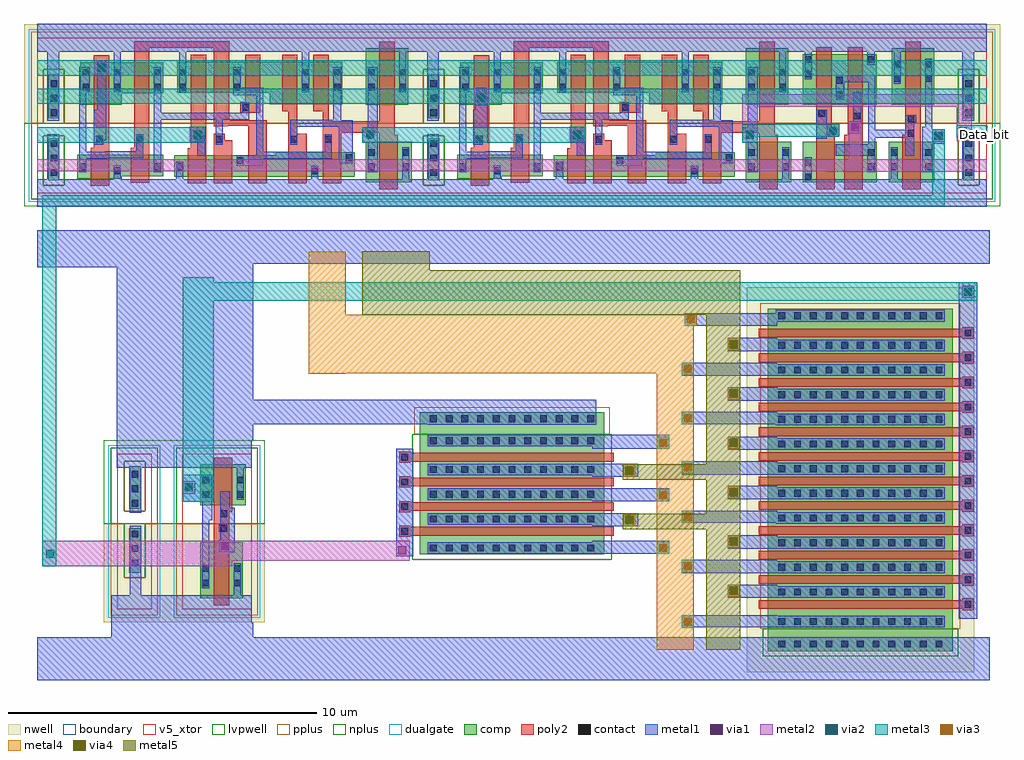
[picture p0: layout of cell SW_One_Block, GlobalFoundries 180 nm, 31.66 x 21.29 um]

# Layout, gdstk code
from math import pi, radians
import gdstk
lib = gdstk.Library(unit=1e-6, precision=1e-09)
def R(c, l, rs):  # rectangles x0, y0, x1, y1
    for r in rs: c.add(gdstk.rectangle(r[:2], r[2:], *l))
def A(c, l, x, y, w, h, nx, ny, dx, dy):  # array of equal rectangles
    R(c, l, [(x+i*dx, y+j*dy, x+i*dx+w, y+j*dy+h) for i in range(nx) for j in range(ny)])
def P(c, l, *ps):  # polygons
    for p in ps: c.add(gdstk.Polygon(p, *l))
boundary = (0, 0)
nwell = (21, 0)
comp = (22, 0)
poly2 = (30, 0)
pplus = (31, 0)
nplus = (32, 0)
contact = (33, 0)
metal1 = (34, 0)
via1 = (35, 0)
metal2 = (36, 0)
via2 = (38, 0)
via3 = (40, 0)
via4 = (41, 0)
metal3 = (42, 0)
metal4 = (46, 0)
dualgate = (55, 0)
metal5 = (81, 0)
v5_xtor = (112, 1)
lvpwell = (204, 0)

gf180mcu_fd_sc_mcu9t5v0_ = lib.new_cell('gf180mcu_fd_sc_mcu9t5v0__filltie')
R(gf180mcu_fd_sc_mcu9t5v0_, boundary, [(0,0,1.12,5.04)])
R(gf180mcu_fd_sc_mcu9t5v0_, nwell, [(-0.43,2.265,1.55,5.47)])
R(gf180mcu_fd_sc_mcu9t5v0_, comp, [(0.36,0.41,0.72,1.785), (0.36,2.425,0.72,3.855)])
R(gf180mcu_fd_sc_mcu9t5v0_, pplus, [(0.2,0.25,0.88,1.865)])
P(gf180mcu_fd_sc_mcu9t5v0_, pplus, [(-0.2,2.265),(-0.2,5.24),(1.32,5.24),(1.32,2.265),(0.88,2.265),(0.88,4.015),(0.2,4.015),(0.2,2.265)])
P(gf180mcu_fd_sc_mcu9t5v0_, nplus, [(-0.2,-0.2),(-0.2,2.265),(0.2,2.265),(0.2,4.015),(0.88,4.015),(0.88,1.865),(0.2,1.865),(0.2,0.25),(0.88,0.25),(0.88,4.015),(0.88,2.265),(1.32,2.265),(1.32,-0.2)])
A(gf180mcu_fd_sc_mcu9t5v0_, contact, 0.43, 0.555, 0.22, 0.22, 1, 3, 0, 0.47)
A(gf180mcu_fd_sc_mcu9t5v0_, contact, 0.43, 2.495, 0.22, 0.22, 1, 3, 0, 0.47)
P(gf180mcu_fd_sc_mcu9t5v0_, metal1, [(0,-0.45),(0,0.45),(0.33,0.45),(0.33,1.91),(0.71,1.91),(0.71,0.45),(1.12,0.45),(1.12,-0.45)],
  [(0.33,2.34),(0.33,4.59),(0,4.59),(0,5.49),(1.12,5.49),(1.12,4.59),(0.71,4.59),(0.71,2.34)])
R(gf180mcu_fd_sc_mcu9t5v0_, dualgate, [(-0.28,-0.28,1.4,5.32)])
R(gf180mcu_fd_sc_mcu9t5v0_, v5_xtor, [(0,0,1.12,5.04)])
R(gf180mcu_fd_sc_mcu9t5v0_, lvpwell, [(-0.43,-0.43,1.55,2.265)])
gf180mcu_fd_sc_mcu9t5v0_.add(gdstk.Label('& Vendor GLOBALFOUNDRIES', (0,2), layer=63, texttype=63))
gf180mcu_fd_sc_mcu9t5v0_.add(gdstk.Label('& Product GF018hv5v_green_sc9', (0,1.5), layer=63, texttype=63))
gf180mcu_fd_sc_mcu9t5v0_.add(gdstk.Label('& Version 2015q2v2', (0,1), layer=63, texttype=63))
gf180mcu_fd_sc_mcu9t5v0_.add(gdstk.Label('& Metric 1.00', (0,0.5), layer=63, texttype=63))
gf180mcu_fd_sc_mcu9t5v0_.add(gdstk.Label('VSS', (0.56,-0.45), layer=34, texttype=10))
gf180mcu_fd_sc_mcu9t5v0_.add(gdstk.Label('VDD', (0.56,5.49), layer=34, texttype=10))

c_gf180mcu_fd_sc_mcu9t5v0_ = lib.new_cell('gf180mcu_fd_sc_mcu9t5v0__latq_1')
R(c_gf180mcu_fd_sc_mcu9t5v0_, boundary, [(0,0,11.2,5.04)])
R(c_gf180mcu_fd_sc_mcu9t5v0_, nwell, [(-0.43,2.265,11.63,5.47)])
R(c_gf180mcu_fd_sc_mcu9t5v0_, comp, [(9.54,0.345,11.02,1.665), (9.54,2.865,10.92,4.695)])
P(c_gf180mcu_fd_sc_mcu9t5v0_, comp, [(0.18,0.46),(0.18,1.25),(2.96,1.25),(2.96,0.55),(1.62,0.55),(1.62,0.46)],
  [(0.28,2.865),(0.28,4.245),(2.96,4.245),(2.96,3.245),(1.62,3.245),(1.62,2.865)],
  [(6.42,2.88),(6.42,3.26),(3.42,3.26),(3.42,4.26),(8.78,4.26),(8.78,2.88)],
  [(3.32,0.535),(3.32,1.235),(6.62,1.235),(6.62,1.325),(9.18,1.325),(9.18,0.535)])
P(c_gf180mcu_fd_sc_mcu9t5v0_, poly2, [(0.62,0.24),(0.62,1.47),(0.72,1.47),(0.72,4.465),(1.22,4.465),(1.22,0.24)],
  [(3.76,0.315),(3.76,1.455),(3.86,1.455),(3.86,4.48),(4.36,4.48),(4.36,0.315)],
  [(4.6,0.315),(4.6,1.925),(4.96,1.925),(4.96,1.715),(5.2,1.715),(5.2,0.315)],
  [(5.46,2.6),(5.46,2.96),(5.62,2.96),(5.62,4.48),(6.12,4.48),(6.12,3.04),(6.115,3.04),(6.115,2.6)],
  [(5.72,0.315),(5.72,2.16),(5.055,2.16),(5.055,2.165),(4.6,2.165),(4.6,4.72),(2.52,4.72),(2.52,0.33),(1.92,0.33),(1.92,1.47),(2.02,1.47),(2.02,4.92),(5.1,4.92),(5.1,2.36),(6.32,2.36),(6.32,0.315)],
  [(7.02,0.315),(7.02,2.66),(6.82,2.66),(6.82,4.48),(7.32,4.48),(7.32,1.925),(7.62,1.925),(7.62,0.315)],
  [(9.98,0.125),(9.98,1.965),(8.74,1.965),(8.74,0.315),(8.14,0.315),(8.14,2.66),(7.84,2.66),(7.84,4.48),(8.34,4.48),(8.34,2.325),(9.98,2.325),(9.98,4.915),(10.48,4.915),(10.48,1.885),(10.58,1.885),(10.58,0.125)])
R(c_gf180mcu_fd_sc_mcu9t5v0_, pplus, [(-0.2,2.265,11.4,5.24)])
R(c_gf180mcu_fd_sc_mcu9t5v0_, nplus, [(-0.2,-0.2,11.4,2.265)])
R(c_gf180mcu_fd_sc_mcu9t5v0_, contact, [(7.77,0.605,7.99,0.825), (1.37,0.615,1.59,0.835), (0.25,0.74,0.47,0.96), (2.67,0.74,2.89,0.96), (3.39,0.74,3.61,0.96), (9.61,0.74,9.83,0.96), (10.73,0.74,10.95,0.96), (5.35,0.945,5.57,1.165), (8.89,1.035,9.11,1.255), (9.61,1.21,9.83,1.43), (10.73,1.21,10.95,1.43), (0.79,1.635,1.01,1.855), (2.09,1.635,2.31,1.855), (4.07,1.635,4.29,1.855), (4.67,1.635,4.89,1.855), (7.09,1.635,7.31,1.855), (8.21,1.635,8.43,1.855), (5.53,2.67,5.75,2.89), (0.35,3.33,0.57,3.55), (1.37,3.33,1.59,3.55), (2.67,3.33,2.89,3.55), (3.49,3.33,3.71,3.55), (5.25,3.33,5.47,3.55), (7.47,3.33,7.69,3.55), (8.49,3.33,8.71,3.55), (9.61,3.33,9.83,3.55), (10.63,3.33,10.85,3.55), (0.35,3.8,0.57,4.02), (1.37,3.8,1.59,4.02), (2.67,3.8,2.89,4.02), (3.49,3.8,3.71,4.02), (5.25,3.8,5.47,4.02), (7.47,3.8,7.69,4.02), (8.49,3.8,8.71,4.02), (9.61,3.8,9.83,4.02), (10.63,3.8,10.85,4.02)])
R(c_gf180mcu_fd_sc_mcu9t5v0_, metal1, [(9.605,0.68,9.93,4.08), (4.065,1.21,4.33,2.15), (0.71,1.575,1.015,2.71)])
P(c_gf180mcu_fd_sc_mcu9t5v0_, metal1, [(0.245,0.68),(0.245,4.08),(0.575,4.08),(0.575,3.27),(0.475,3.27),(0.475,1.345),(1.085,1.345),(1.085,1.355),(2.085,1.355),(2.085,1.915),(2.315,1.915),(2.315,1.125),(1.155,1.125),(1.155,1.115),(0.475,1.115),(0.475,0.68)],
  [(2.665,0.68),(2.665,4.08),(2.895,4.08),(2.895,2.61),(5.525,2.61),(5.525,2.95),(5.755,2.95),(5.755,2.38),(4.895,2.38),(4.895,1.575),(4.665,1.575),(4.665,2.38),(2.895,2.38),(2.895,0.68)],
  [(5.345,0.885),(5.345,1.225),(5.985,1.225),(5.985,3.18),(5.245,3.18),(5.245,4.08),(5.475,4.08),(5.475,3.41),(6.215,3.41),(6.215,1.345),(8.205,1.345),(8.205,1.915),(8.435,1.915),(8.435,1.115),(6.19,1.115),(6.19,0.885)],
  [(8.665,0.975),(8.665,2.145),(7.315,2.145),(7.315,1.575),(7.085,1.575),(7.085,2.375),(8.485,2.375),(8.485,4.08),(8.735,4.08),(8.735,2.365),(9.115,2.365),(9.115,0.975)],
  [(0,-0.45),(0,0.45),(1.365,0.45),(1.365,0.895),(1.595,0.895),(1.595,0.45),(3.385,0.45),(3.385,1.02),(3.615,1.02),(3.615,0.45),(7.765,0.45),(7.765,0.885),(7.995,0.885),(7.995,0.45),(10.725,0.45),(10.725,1.49),(10.955,1.49),(10.955,0.45),(11.2,0.45),(11.2,-0.45)],
  [(1.365,3.27),(1.365,4.59),(0,4.59),(0,5.49),(11.2,5.49),(11.2,4.59),(10.855,4.59),(10.855,3.27),(10.625,3.27),(10.625,4.59),(7.695,4.59),(7.695,3.27),(7.465,3.27),(7.465,4.59),(3.715,4.59),(3.715,3.27),(3.485,3.27),(3.485,4.59),(1.595,4.59),(1.595,3.27)])
R(c_gf180mcu_fd_sc_mcu9t5v0_, dualgate, [(-0.28,-0.28,11.48,5.32)])
R(c_gf180mcu_fd_sc_mcu9t5v0_, v5_xtor, [(0,0,11.2,5.04)])
R(c_gf180mcu_fd_sc_mcu9t5v0_, lvpwell, [(-0.43,-0.43,11.63,2.265)])
c_gf180mcu_fd_sc_mcu9t5v0_.add(gdstk.Label('& Vendor GLOBALFOUNDRIES', (0,2), layer=63, texttype=63))
c_gf180mcu_fd_sc_mcu9t5v0_.add(gdstk.Label('& Product GF018hv5v_green_sc9', (0,1.5), layer=63, texttype=63))
c_gf180mcu_fd_sc_mcu9t5v0_.add(gdstk.Label('& Version 2015q2v2', (0,1), layer=63, texttype=63))
c_gf180mcu_fd_sc_mcu9t5v0_.add(gdstk.Label('& Metric 1.00', (0,0.5), layer=63, texttype=63))
c_gf180mcu_fd_sc_mcu9t5v0_.add(gdstk.Label('VNW', (0.345,3.92), layer=21, texttype=10))
c_gf180mcu_fd_sc_mcu9t5v0_.add(gdstk.Label('VPW', (0.34,-0.085), layer=204, texttype=10))
c_gf180mcu_fd_sc_mcu9t5v0_.add(gdstk.Label('D', (4.2,1.4), layer=34, texttype=10))
c_gf180mcu_fd_sc_mcu9t5v0_.add(gdstk.Label('E', (0.84,1.96), layer=34, texttype=10))
c_gf180mcu_fd_sc_mcu9t5v0_.add(gdstk.Label('Q', (9.8,2.52), layer=34, texttype=10))
c_gf180mcu_fd_sc_mcu9t5v0_.add(gdstk.Label('VDD', (5.6,5.49), layer=34, texttype=10))
c_gf180mcu_fd_sc_mcu9t5v0_.add(gdstk.Label('VSS', (5.6,-0.45), layer=34, texttype=10))

via_dev = lib.new_cell('via_dev')
R(via_dev, metal1, [(0,0,0.5,0.5)])
R(via_dev, via1, [(0.12,0.12,0.38,0.38)])
R(via_dev, metal2, [(0,0,0.5,0.5)])

via_dev_2 = lib.new_cell('via_dev$2')
R(via_dev_2, metal2, [(0,0,0.5,0.5)])
R(via_dev_2, via2, [(0.12,0.12,0.38,0.38)])
R(via_dev_2, metal3, [(0,0,0.5,0.5)])

c_gf180mcu_fd_sc_mcu9t5v0__ = lib.new_cell('gf180mcu_fd_sc_mcu9t5v0__nand2_1')
R(c_gf180mcu_fd_sc_mcu9t5v0__, boundary, [(0,0,2.8,5.04)])
R(c_gf180mcu_fd_sc_mcu9t5v0__, nwell, [(-0.43,2.265,3.23,5.47)])
R(c_gf180mcu_fd_sc_mcu9t5v0__, comp, [(0.185,0.345,2.585,1.665), (0.185,2.865,2.585,4.51)])
P(c_gf180mcu_fd_sc_mcu9t5v0__, poly2, [(0.625,0.125),(0.625,4.73),(1.125,4.73),(1.125,1.885),(1.225,1.885),(1.225,0.125)],
  [(1.545,0.125),(1.545,1.885),(1.645,1.885),(1.645,4.73),(2.145,4.73),(2.145,0.125)])
R(c_gf180mcu_fd_sc_mcu9t5v0__, pplus, [(-0.2,2.265,3,5.24)])
R(c_gf180mcu_fd_sc_mcu9t5v0__, nplus, [(-0.2,-0.2,3,2.265)])
R(c_gf180mcu_fd_sc_mcu9t5v0__, contact, [(0.255,0.415,0.475,0.635), (2.295,0.74,2.515,0.96), (0.255,0.885,0.475,1.105), (2.295,1.21,2.515,1.43), (1.835,2.39,2.055,2.61), (0.695,2.475,0.915,2.695), (1.275,3.08,1.495,3.3), (1.275,3.55,1.495,3.77), (0.255,3.75,0.475,3.97), (0.255,4.22,0.475,4.44), (2.295,4.22,2.515,4.44)])
R(c_gf180mcu_fd_sc_mcu9t5v0__, metal1, [(0.635,1.77,0.975,2.71), (1.83,2.33,2.09,3.27)])
P(c_gf180mcu_fd_sc_mcu9t5v0__, metal1, [(2.29,0.68),(2.29,1.21),(1.27,1.21),(1.27,1.59),(2.32,1.59),(2.32,3.6),(1.53,3.6),(1.53,3.02),(1.27,3.02),(1.27,3.83),(2.55,3.83),(2.55,0.68)],
  [(0,-0.45),(0,0.45),(0.25,0.45),(0.25,1.165),(0.48,1.165),(0.48,0.45),(2.8,0.45),(2.8,-0.45)],
  [(0.25,3.69),(0.25,4.59),(0,4.59),(0,5.49),(2.8,5.49),(2.8,4.59),(2.52,4.59),(2.52,4.16),(2.29,4.16),(2.29,4.59),(0.48,4.59),(0.48,3.69)])
R(c_gf180mcu_fd_sc_mcu9t5v0__, dualgate, [(-0.28,-0.28,3.08,5.32)])
R(c_gf180mcu_fd_sc_mcu9t5v0__, v5_xtor, [(0,0,2.8,5.04)])
R(c_gf180mcu_fd_sc_mcu9t5v0__, lvpwell, [(-0.43,-0.43,3.23,2.265)])
c_gf180mcu_fd_sc_mcu9t5v0__.add(gdstk.Label('& Vendor GLOBALFOUNDRIES', (0,2), layer=63, texttype=63))
c_gf180mcu_fd_sc_mcu9t5v0__.add(gdstk.Label('& Product GF018hv5v_green_sc9', (0,1.5), layer=63, texttype=63))
c_gf180mcu_fd_sc_mcu9t5v0__.add(gdstk.Label('& Version 2015q2v2', (0,1), layer=63, texttype=63))
c_gf180mcu_fd_sc_mcu9t5v0__.add(gdstk.Label('& Metric 1.00', (0,0.5), layer=63, texttype=63))
c_gf180mcu_fd_sc_mcu9t5v0__.add(gdstk.Label('VNW', (0.345,3.92), layer=21, texttype=10))
c_gf180mcu_fd_sc_mcu9t5v0__.add(gdstk.Label('VPW', (0.34,-0.085), layer=204, texttype=10))
c_gf180mcu_fd_sc_mcu9t5v0__.add(gdstk.Label('A1', (1.96,2.52), layer=34, texttype=10))
c_gf180mcu_fd_sc_mcu9t5v0__.add(gdstk.Label('A2', (0.84,1.96), layer=34, texttype=10))
c_gf180mcu_fd_sc_mcu9t5v0__.add(gdstk.Label('VDD', (1.4,5.49), layer=34, texttype=10))
c_gf180mcu_fd_sc_mcu9t5v0__.add(gdstk.Label('VSS', (1.4,-0.45), layer=34, texttype=10))
c_gf180mcu_fd_sc_mcu9t5v0__.add(gdstk.Label('ZN', (1.96,1.4), layer=34, texttype=10))

c_gf180mcu_fd_sc_mcu9t5v0___ = lib.new_cell('gf180mcu_fd_sc_mcu9t5v0__inv_1')
R(c_gf180mcu_fd_sc_mcu9t5v0___, boundary, [(0,0,2.24,5.04)])
R(c_gf180mcu_fd_sc_mcu9t5v0___, nwell, [(-0.43,2.265,2.67,5.47)])
R(c_gf180mcu_fd_sc_mcu9t5v0___, comp, [(0.18,0.345,1.66,1.665), (0.28,2.865,1.66,4.695)])
P(c_gf180mcu_fd_sc_mcu9t5v0___, poly2, [(0.62,0.125),(0.62,1.885),(0.72,1.885),(0.72,4.915),(1.22,4.915),(1.22,0.125)])
R(c_gf180mcu_fd_sc_mcu9t5v0___, pplus, [(-0.2,2.265,2.44,5.24)])
R(c_gf180mcu_fd_sc_mcu9t5v0___, nplus, [(-0.2,-0.2,2.44,2.265)])
R(c_gf180mcu_fd_sc_mcu9t5v0___, contact, [(0.25,0.74,0.47,0.96), (1.37,0.74,1.59,0.96), (0.25,1.21,0.47,1.43), (1.37,1.21,1.59,1.43), (0.79,1.835,1.01,2.055), (0.79,2.305,1.01,2.525), (0.35,3.61,0.57,3.83), (1.37,3.61,1.59,3.83), (0.35,4.08,0.57,4.3), (1.37,4.08,1.59,4.3)])
P(c_gf180mcu_fd_sc_mcu9t5v0___, metal1, [(0.71,1.21),(0.71,2.53),(1.07,2.53),(1.07,2.3),(1.015,2.3),(1.015,1.21)],
  [(1.27,0.68),(1.27,2.15),(1.365,2.15),(1.365,4.36),(1.595,4.36),(1.595,0.68)],
  [(0,-0.45),(0,0.45),(0.245,0.45),(0.245,1.49),(0.475,1.49),(0.475,0.45),(2.24,0.45),(2.24,-0.45)],
  [(0.345,3.55),(0.345,4.59),(0,4.59),(0,5.49),(2.24,5.49),(2.24,4.59),(0.575,4.59),(0.575,3.55)])
R(c_gf180mcu_fd_sc_mcu9t5v0___, dualgate, [(-0.28,-0.28,2.52,5.32)])
R(c_gf180mcu_fd_sc_mcu9t5v0___, v5_xtor, [(0,0,2.24,5.04)])
R(c_gf180mcu_fd_sc_mcu9t5v0___, lvpwell, [(-0.43,-0.43,2.67,2.265)])
c_gf180mcu_fd_sc_mcu9t5v0___.add(gdstk.Label('& Vendor GLOBALFOUNDRIES', (0,2), layer=63, texttype=63))
c_gf180mcu_fd_sc_mcu9t5v0___.add(gdstk.Label('& Product GF018hv5v_green_sc9', (0,1.5), layer=63, texttype=63))
c_gf180mcu_fd_sc_mcu9t5v0___.add(gdstk.Label('& Version 2015q2v2', (0,1), layer=63, texttype=63))
c_gf180mcu_fd_sc_mcu9t5v0___.add(gdstk.Label('& Metric 1.00', (0,0.5), layer=63, texttype=63))
c_gf180mcu_fd_sc_mcu9t5v0___.add(gdstk.Label('VNW', (0.345,3.92), layer=21, texttype=10))
c_gf180mcu_fd_sc_mcu9t5v0___.add(gdstk.Label('VPW', (0.34,-0.085), layer=204, texttype=10))
c_gf180mcu_fd_sc_mcu9t5v0___.add(gdstk.Label('I', (0.84,1.96), layer=34, texttype=10))
c_gf180mcu_fd_sc_mcu9t5v0___.add(gdstk.Label('VDD', (1.12,5.49), layer=34, texttype=10))
c_gf180mcu_fd_sc_mcu9t5v0___.add(gdstk.Label('VSS', (1.12,-0.45), layer=34, texttype=10))
c_gf180mcu_fd_sc_mcu9t5v0___.add(gdstk.Label('ZN', (1.4,1.96), layer=34, texttype=10))

via_dev_6 = lib.new_cell('via_dev$6')
R(via_dev_6, metal1, [(0,0,0.4,0.4)])
R(via_dev_6, via1, [(0.07,0.07,0.33,0.33)])
R(via_dev_6, metal2, [(0,0,0.4,0.4)])
R(via_dev_6, via2, [(0.07,0.07,0.33,0.33)])
R(via_dev_6, metal3, [(0,0,0.4,0.4)])

via_dev_7 = lib.new_cell('via_dev$7')
R(via_dev_7, metal1, [(0,0,0.4,0.4)])
R(via_dev_7, via1, [(0.07,0.07,0.33,0.33)])
R(via_dev_7, metal2, [(0,0,0.4,0.4)])

dff_2phase_1 = lib.new_cell('DFF_2phase_1')
R(dff_2phase_1, metal1, [(0.22,1.5,0.525,4.11), (25.47,1.59,26.43,1.855), (0.22,3.61,0.52,4.11)])
P(dff_2phase_1, metal1, [(12.51,1.435),(12.51,2.32),(12.49,2.32),(12.49,2.935),(12.525,2.935),(12.525,3.22),(12.84,3.22),(12.84,2.935),(12.89,2.935),(12.89,1.435)])
R(dff_2phase_1, via1, [(12.56,2.77,12.82,3.03), (0.24,3.73,0.5,3.99)])
R(dff_2phase_1, metal2, [(12.44,2.69,12.84,3.19), (0.17,3.61,0.57,4.11)])
P(dff_2phase_1, metal2, [(23.89,0.5),(23.89,0.505),(-1.72,0.505),(-1.72,0.9),(24.61,0.9),(24.61,1.73),(25.01,1.73),(25.01,0.9),(29.08,0.9),(29.08,0.5)])
R(dff_2phase_1, metal3, [(-1.72,1.44,3.73,1.94), (8.83,1.44,16.05,1.94), (21.15,1.625,24.295,2.025), (-1.72,2.69,29.08,3.19), (-1.72,3.61,29.08,4.11)])
P(dff_2phase_1, metal3, [(-1.56,-0.63),(-1.56,-0.27),(27.315,-0.27),(27.315,1.465),(27.715,1.465),(27.715,-0.63)])
dff_2phase_1.add(gdstk.Reference(gf180mcu_fd_sc_mcu9t5v0_, (-1.72,-0.2)))
dff_2phase_1.add(gdstk.Reference(gf180mcu_fd_sc_mcu9t5v0_, (10.6,-0.2)))
dff_2phase_1.add(gdstk.Reference(c_gf180mcu_fd_sc_mcu9t5v0_, (-0.6,-0.2)))
dff_2phase_1.add(gdstk.Reference(gf180mcu_fd_sc_mcu9t5v0_, (27.96,-0.2)))
dff_2phase_1.add(gdstk.Reference(via_dev, (8.83,1.44)))
dff_2phase_1.add(gdstk.Reference(via_dev_2, (8.83,1.44)))
dff_2phase_1.add(gdstk.Reference(via_dev, (15.55,1.45)))
dff_2phase_1.add(gdstk.Reference(via_dev_2, (15.55,1.45)))
dff_2phase_1.add(gdstk.Reference(via_dev, (3.23,1.45)))
dff_2phase_1.add(gdstk.Reference(via_dev_2, (3.23,1.45)))
dff_2phase_1.add(gdstk.Reference(via_dev, (21.15,1.44)))
dff_2phase_1.add(gdstk.Reference(via_dev_2, (21.15,1.44)))
dff_2phase_1.add(gdstk.Reference(via_dev_2, (12.44,2.65)))
dff_2phase_1.add(gdstk.Reference(via_dev_2, (0.12,3.61)))
dff_2phase_1.add(gdstk.Reference(c_gf180mcu_fd_sc_mcu9t5v0__, (22.92,-0.2)))
dff_2phase_1.add(gdstk.Reference(c_gf180mcu_fd_sc_mcu9t5v0___, (25.72,-0.2)))
dff_2phase_1.add(gdstk.Reference(via_dev_6, (23.895,1.625)))
dff_2phase_1.add(gdstk.Reference(via_dev_7, (24.61,1.73)))
dff_2phase_1.add(gdstk.Reference(c_gf180mcu_fd_sc_mcu9t5v0_, (11.72,-0.2)))
dff_2phase_1.add(gdstk.Reference(via_dev_6, (27.315,1.465)))
dff_2phase_1.add(gdstk.Label('VDD', (0.21,4.97), layer=34, texttype=10))
dff_2phase_1.add(gdstk.Label('VSS', (0.44,-0.53), layer=34, texttype=10))
dff_2phase_1.add(gdstk.Label('Control_post_AND', (-1.44,-0.46), layer=42, texttype=10))
dff_2phase_1.add(gdstk.Label('PHI_1', (-1.62,3.71), layer=42, texttype=10))
dff_2phase_1.add(gdstk.Label('PHI_2', (-1.62,2.84), layer=42, texttype=10))
dff_2phase_1.add(gdstk.Label('D', (-1.63,1.56), layer=42, texttype=10))
dff_2phase_1.add(gdstk.Label('D', (-1.64,1.55), layer=42, texttype=10))
dff_2phase_1.add(gdstk.Label('Q', (23.53,1.48), layer=42, texttype=10))
dff_2phase_1.add(gdstk.Label('EN', (-1.595,0.76), layer=36, texttype=10))

via_dev_4 = lib.new_cell('via_dev$4')
R(via_dev_4, metal2, [(0,0,0.4,0.4)])
R(via_dev_4, via2, [(0.07,0.07,0.33,0.33)])
R(via_dev_4, metal3, [(0,0,0.4,0.4)])

pfet_1 = lib.new_cell('pfet$1')
R(pfet_1, nwell, [(-1.15,-0.69,11.34,6.69)])
R(pfet_1, comp, [(-0.46,0,0,6), (0,0,9.46,6), (9.46,0,9.92,6), (9.92,0,10.65,6)])
A(pfet_1, poly2, 0.19, -0.3, 0.28, 6.6, 12, 1, 0.8, 0)
A(pfet_1, poly2, 0.14, 6.3, 0.38, 0.38, 12, 1, 0.8, 0)
R(pfet_1, pplus, [(-0.63,-0.24,9.92,6.24)])
R(pfet_1, nplus, [(9.92,-0.17,10.82,6.17)])
A(pfet_1, contact, -0.34, 0.34, 0.22, 0.22, 1, 11, 0, 0.51)
A(pfet_1, contact, 0.62, 0.34, 0.22, 0.22, 11, 11, 0.8, 0.51)
A(pfet_1, contact, 9.58, 0.34, 0.22, 0.22, 1, 11, 0, 0.51)
A(pfet_1, contact, 10.31, 0.34, 0.22, 0.22, 1, 11, 0, 0.51)
A(pfet_1, contact, 0.22, 6.38, 0.22, 0.22, 12, 1, 0.8, 0)
A(pfet_1, metal1, 0.54, 0.26, 0.38, 5.48, 11, 1, 0.8, 0)
A(pfet_1, metal1, 0.14, 6.299, 0.38, 0.382, 12, 1, 0.8, 0)
R(pfet_1, metal1, [(-0.42,0.26,-0.04,5.74), (9.5,0.26,9.88,5.74), (10.23,0.26,10.61,5.74)])

nfet_1 = lib.new_cell('nfet$1')
R(nfet_1, comp, [(-0.42,0,0,6), (0,0,3.06,6), (3.06,0,3.48,6), (3.48,0,4.19,6)])
A(nfet_1, poly2, 0.19, -0.3, 0.28, 6.6, 4, 1, 0.8, 0)
A(nfet_1, poly2, 0.15, 6.3, 0.36, 0.36, 4, 1, 0.8, 0)
R(nfet_1, pplus, [(3.48,-0.17,4.36,6.17)])
R(nfet_1, nplus, [(-0.59,-0.24,3.48,6.24)])
A(nfet_1, contact, -0.32, 0.34, 0.22, 0.22, 1, 11, 0, 0.51)
A(nfet_1, contact, 0.62, 0.34, 0.22, 0.22, 3, 11, 0.8, 0.51)
A(nfet_1, contact, 3.16, 0.34, 0.22, 0.22, 1, 11, 0, 0.51)
A(nfet_1, contact, 3.87, 0.34, 0.22, 0.22, 1, 11, 0, 0.51)
A(nfet_1, contact, 0.22, 6.37, 0.22, 0.22, 4, 1, 0.8, 0)
A(nfet_1, metal1, 0.54, 0.26, 0.38, 5.48, 3, 1, 0.8, 0)
A(nfet_1, metal1, 0.14, 6.289, 0.38, 0.382, 4, 1, 0.8, 0)
R(nfet_1, metal1, [(-0.4,0.26,-0.02,5.74), (3.08,0.26,3.46,5.74), (3.79,0.26,4.17,5.74)])

via_dev_1 = lib.new_cell('via_dev$1')
R(via_dev_1, metal1, [(0,0,0.4,0.4)])
R(via_dev_1, via1, [(0.07,0.07,0.33,0.33)])
R(via_dev_1, metal2, [(0,0,0.4,0.4)])
R(via_dev_1, via2, [(0.07,0.07,0.33,0.33)])
R(via_dev_1, metal3, [(0,0,0.4,0.4)])

via_dev_2_1 = lib.new_cell('via_dev$2$1')
R(via_dev_2_1, metal1, [(0,0,0.4,0.4)])
R(via_dev_2_1, via1, [(0.07,0.07,0.33,0.33)])
R(via_dev_2_1, metal2, [(0,0,0.4,0.4)])
R(via_dev_2_1, via2, [(0.07,0.07,0.33,0.33)])
R(via_dev_2_1, via3, [(0.07,0.07,0.33,0.33)])
R(via_dev_2_1, metal3, [(0,0,0.4,0.4)])
R(via_dev_2_1, metal4, [(0,0,0.4,0.4)])

via_dev_3 = lib.new_cell('via_dev$3')
R(via_dev_3, metal1, [(0,0,0.4,0.4)])
R(via_dev_3, via1, [(0.07,0.07,0.33,0.33)])
R(via_dev_3, metal2, [(0,0,0.4,0.4)])
R(via_dev_3, via2, [(0.07,0.07,0.33,0.33)])
R(via_dev_3, via3, [(0.07,0.07,0.33,0.33)])
R(via_dev_3, via4, [(0.07,0.07,0.33,0.33)])
R(via_dev_3, metal3, [(0,0,0.4,0.4)])
R(via_dev_3, metal4, [(0,0,0.4,0.4)])
R(via_dev_3, metal5, [(0,0,0.4,0.4)])

via_dev_8 = lib.new_cell('via_dev$8')
R(via_dev_8, metal1, [(0,0,0.4,0.4)])
R(via_dev_8, via1, [(0.07,0.07,0.33,0.33)])
R(via_dev_8, metal2, [(0,0,0.4,0.4)])

inv_1 = lib.new_cell('inv_1')
R(inv_1, boundary, [(10.65,31.01,12.89,36.05)])
R(inv_1, nwell, [(10.22,33.275,13.32,36.48)])
R(inv_1, comp, [(10.83,31.355,12.31,32.675), (10.93,33.875,12.31,35.705)])
P(inv_1, poly2, [(11.27,31.135),(11.27,32.895),(11.37,32.895),(11.37,35.925),(11.87,35.925),(11.87,31.135)])
R(inv_1, pplus, [(10.45,33.275,13.09,36.25)])
R(inv_1, nplus, [(10.45,30.81,13.09,33.275)])
R(inv_1, contact, [(10.9,31.75,11.12,31.97), (12.02,31.75,12.24,31.97), (10.9,32.22,11.12,32.44), (12.02,32.22,12.24,32.44), (11.44,32.845,11.66,33.065), (11.44,33.315,11.66,33.535), (11,34.62,11.22,34.84), (12.02,34.62,12.24,34.84), (11,35.09,11.22,35.31), (12.02,35.09,12.24,35.31)])
P(inv_1, metal1, [(10.995,34.56),(10.995,35.6),(10.65,35.6),(10.65,36.5),(12.89,36.5),(12.89,35.6),(11.225,35.6),(11.225,34.56)],
  [(11.92,31.69),(11.92,33.16),(12.015,33.16),(12.015,35.37),(12.245,35.37),(12.245,31.69)],
  [(11.36,32.22),(11.36,33.54),(11.72,33.54),(11.72,33.31),(11.665,33.31),(11.665,32.22)],
  [(10.65,30.56),(10.65,31.46),(10.895,31.46),(10.895,32.5),(11.125,32.5),(11.125,31.46),(12.89,31.46),(12.89,30.56)])
R(inv_1, dualgate, [(10.37,30.73,13.17,36.33)])
R(inv_1, v5_xtor, [(10.65,31.01,12.89,36.05)])
R(inv_1, lvpwell, [(10.22,30.58,13.32,33.275)])
inv_1.add(gdstk.Label('& Vendor GLOBALFOUNDRIES', (10.665,33.04), layer=63, texttype=63))
inv_1.add(gdstk.Label('& Product GF018hv5v_green_sc9', (10.665,32.54), layer=63, texttype=63))
inv_1.add(gdstk.Label('& Version 2015q2v2', (10.665,32.04), layer=63, texttype=63))
inv_1.add(gdstk.Label('& Metric 1.00', (10.665,31.54), layer=63, texttype=63))
inv_1.add(gdstk.Label('VNW', (11.01,34.96), layer=21, texttype=10))
inv_1.add(gdstk.Label('VPW', (11.005,30.955), layer=204, texttype=10))

tx_gate = lib.new_cell('TX_Gate')
R(tx_gate, boundary, [(-9.41,3.605,-8.29,8.645)])
R(tx_gate, nwell, [(-9.84,3.175,-5.44,6.38)])
R(tx_gate, comp, [(-9.01,4.79,-8.65,6.22), (-9.01,6.86,-8.65,8.235)])
R(tx_gate, pplus, [(-9.17,6.78,-8.49,8.395)])
P(tx_gate, pplus, [(-9.61,3.405),(-9.61,6.38),(-9.17,6.38),(-9.17,4.63),(-8.49,4.63),(-8.49,6.38),(-8.09,6.38),(-8.09,3.405)])
P(tx_gate, nplus, [(-9.17,4.63),(-9.17,6.78),(-8.49,6.78),(-8.49,8.395),(-9.17,8.395),(-9.17,4.63),(-9.17,6.38),(-9.61,6.38),(-9.61,8.845),(-8.09,8.845),(-8.09,6.38),(-8.49,6.38),(-8.49,4.63)])
A(tx_gate, contact, -8.94, 4.99, 0.22, 0.22, 1, 3, 0, 0.47)
A(tx_gate, contact, -8.94, 6.93, 0.22, 0.22, 1, 3, 0, 0.47)
A(tx_gate, metal1, 10.4, 3.97, 1.6, 0.43, 1, 6, 0, 1.6)
A(tx_gate, metal1, 8.9, 4.77, 3.1, 0.43, 1, 3, 0, 3.2)
R(tx_gate, metal1, [(8.9,3.01,12,3.4), (17.9,3.3,18.5,14.2), (-0.36,5.32,0.2,8.8), (6,5.4,8.5,5.82), (-6.06,5.45,-5.6,6.9), (6,6.3,7.5,6.72), (8.9,6.4,12,6.8), (-7.28,7.09,-6.36,7.96), (6,7.1,8.5,7.52), (6,7.9,7.5,8.32), (6,8.8,8.5,9.26), (8.9,9.6,12,10), (9,12.8,12,13.2)])
P(tx_gate, metal1, [(-9.005,6.735),(-9.005,8.195),(-9.415,8.195),(-9.415,14.7),(-12,14.7),(-12,15.9),(18.9,15.9),(18.9,14.8),(-5,14.8),(-5,10.4),(6.14,10.4),(6.14,9.6),(-5,9.6),(-5,9.095),(-5.05,9.095),(-5.05,8.195),(-8.625,8.195),(-8.625,6.735)],
  [(-12,1.3),(-12,2.7),(-9.6,2.7),(-9.6,4.055),(-9.005,4.055),(-9.005,6.305),(-8.625,6.305),(-8.625,4.055),(-5.05,4.055),(-5.05,3.155),(-5,3.155),(-5,2.7),(18.9,2.7),(18.9,1.3)])
P(tx_gate, metal2, [(-6.1,5.17),(-6.1,5.85),(-5.7,5.85),(-5.7,5.83),(0.08,5.83),(0.08,5.17)])
R(tx_gate, metal3, [(-7.275,7.09,-6.27,14.37), (-6.97,13.6,18.5,14.2)])
P(tx_gate, metal4, [(8.1,2.28),(8.1,11.24),(8.07,11.24),(8.07,11.25),(-2,11.25),(-2,11.24),(-3.2,11.24),(-3.2,15.2),(-2,15.2),(-2,13.15),(9.3,13.15),(9.3,2.28)])
R(tx_gate, dualgate, [(-9.69,3.325,-8.01,8.925)])
P(tx_gate, metal5, [(-1.46,13.15),(-1.46,15.22),(0.73,15.22),(0.73,14.6),(10.8,14.6),(10.8,13.15)],
  [(9.7,2.28),(9.7,6.2),(7,6.2),(7,6.7),(9.7,6.7),(9.7,7.8),(7,7.8),(7,8.3),(9.7,8.3),(9.7,14.6),(10.8,14.6),(10.8,2.28)])
R(tx_gate, v5_xtor, [(-9.41,3.605,-8.29,8.645)])
R(tx_gate, lvpwell, [(-9.84,6.38,-5.43,9.075)])
tx_gate.add(gdstk.Reference(pfet_1, (11.7,12.89), rotation=3*pi/2))
tx_gate.add(gdstk.Reference(nfet_1, (6.4,5.8), rotation=pi/2))
tx_gate.add(gdstk.Reference(via_dev_1, (-6.88,7.75), rotation=pi))
tx_gate.add(gdstk.Reference(via_dev_1, (18.4,14.1), rotation=pi))
tx_gate.add(gdstk.Reference(via_dev_2_1, (9.3,3.4), rotation=pi))
tx_gate.add(gdstk.Reference(via_dev_2_1, (9.3,5.2), rotation=pi))
tx_gate.add(gdstk.Reference(via_dev_2_1, (9.3,6.8), rotation=pi))
tx_gate.add(gdstk.Reference(via_dev_2_1, (9.3,8.4), rotation=pi))
tx_gate.add(gdstk.Reference(via_dev_2_1, (9.3,10), rotation=pi))
tx_gate.add(gdstk.Reference(via_dev_2_1, (9.3,11.6), rotation=pi))
tx_gate.add(gdstk.Reference(via_dev_2_1, (9.4,13.2), rotation=pi))
tx_gate.add(gdstk.Reference(via_dev_3, (10.8,12.4), rotation=pi))
tx_gate.add(gdstk.Reference(via_dev_3, (10.8,10.8), rotation=pi))
tx_gate.add(gdstk.Reference(via_dev_3, (10.8,9.2), rotation=pi))
tx_gate.add(gdstk.Reference(via_dev_3, (10.8,7.6), rotation=pi))
tx_gate.add(gdstk.Reference(via_dev_8, (0.04,5.72), rotation=pi))
tx_gate.add(gdstk.Reference(via_dev_3, (7.4,8.3), rotation=pi))
tx_gate.add(gdstk.Reference(via_dev_3, (10.8,6), rotation=pi))
tx_gate.add(gdstk.Reference(via_dev_3, (10.8,4.4), rotation=pi))
tx_gate.add(gdstk.Reference(via_dev_8, (-5.71,5.85), rotation=pi))
tx_gate.add(gdstk.Reference(inv_1, (5.6,39.655), rotation=pi))
tx_gate.add(gdstk.Reference(via_dev_3, (7.4,6.7), rotation=pi))
tx_gate.add(gdstk.Reference(via_dev_2_1, (8.5,9.2), rotation=pi))
tx_gate.add(gdstk.Reference(via_dev_2_1, (8.5,7.5), rotation=pi))
tx_gate.add(gdstk.Reference(via_dev_2_1, (8.5,5.8), rotation=pi))
tx_gate.add(gdstk.Label('& Vendor GLOBALFOUNDRIES', (-8.295,6.635), layer=63, texttype=63))
tx_gate.add(gdstk.Label('& Product GF018hv5v_green_sc9', (-8.295,7.135), layer=63, texttype=63))
tx_gate.add(gdstk.Label('& Version 2015q2v2', (-8.295,7.635), layer=63, texttype=63))
tx_gate.add(gdstk.Label('& Metric 1.00', (-8.295,8.135), layer=63, texttype=63))
tx_gate.add(gdstk.Label('VSS', (-9.035,8.605), layer=34, texttype=10))
tx_gate.add(gdstk.Label('VDD', (-9.075,3.505), layer=34, texttype=10))
tx_gate.add(gdstk.Label('VSS', (-6.415,8.555), layer=34, texttype=10))
tx_gate.add(gdstk.Label('I', (-5.965,6.605), layer=34, texttype=10))
tx_gate.add(gdstk.Label('ZN', (-6.555,6.605), layer=34, texttype=10))
tx_gate.add(gdstk.Label('VDD', (-6.465,3.6), layer=34, texttype=10))
tx_gate.add(gdstk.Label('Control', (-2.6,5.17), layer=42, texttype=10))
tx_gate.add(gdstk.Label('Control_Not', (-2.6,13.7), layer=42, texttype=10))
tx_gate.add(gdstk.Label('Pin', (-2.9,14.8), layer=46, texttype=10))
tx_gate.add(gdstk.Label('Bus', (-0.9,14.9), layer=81, texttype=10))

sw_one_block = lib.new_cell('SW_One_Block')
R(sw_one_block, metal1, [(-13.01,41.2,-12.285,41.665)])
R(sw_one_block, metal2, [(-41.56,27.5,-35.4,28.33)])
P(sw_one_block, metal2, [(-11.9,41.3),(-11.9,42.4),(-18.35,42.4),(-18.35,41.425),(-18.85,41.425),(-18.85,42.8),(-11.4,42.8),(-11.4,41.3)])
R(sw_one_block, metal3, [(-41.56,27.5,-41.1,39.5), (-11.9,41.4,-10.9,41.8)])
sw_one_block.add(gdstk.Reference(dff_2phase_1, (-40,39.8)))
sw_one_block.add(gdstk.Reference(via_dev_4, (-41.1,28.1), rotation=pi))
sw_one_block.add(gdstk.Reference(via_dev_4, (-11.5,41.8), rotation=pi))
sw_one_block.add(gdstk.Reference(tx_gate, (-29.72,22.5)))
sw_one_block.add(gdstk.Label('Data_bit', (-11,41.5), layer=42, texttype=10))
sw_one_block.add(gdstk.Label('Data_bit', (-11.8,41.9), layer=36, texttype=10))

lib.write_gds('SW_One_Block.gds')
